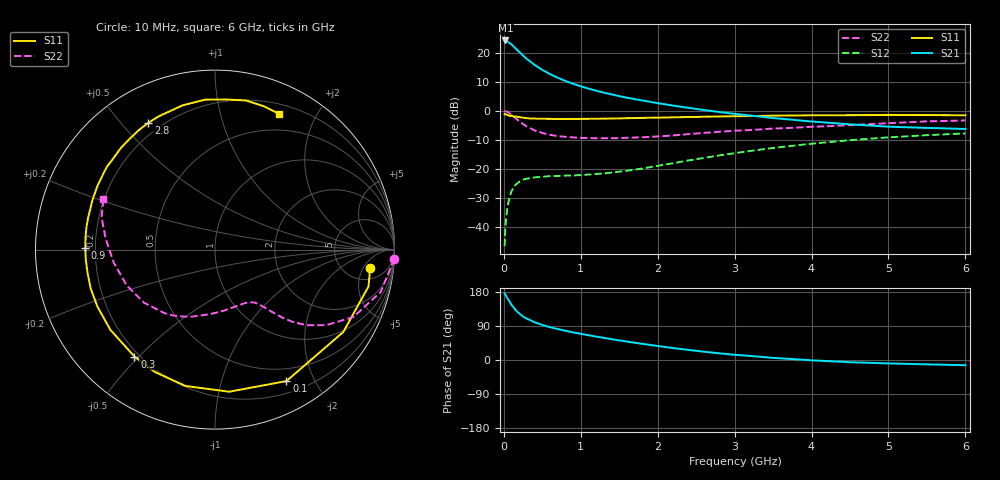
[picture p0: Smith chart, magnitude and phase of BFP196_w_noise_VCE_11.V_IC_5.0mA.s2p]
! (c) 2017  Infineon Technologies AG, Munich
! Infineon Technologies  Discrete & RF Semiconductors
! BFP196
! VCE =  11. V,  IC =  5.0 mA
! Common Emitter S-Parameters:  Jan 2017
# GHz  S  MA  R  50
!  f  S11  S21  S12  S22
! GHz  MAG  ANG  MAG  ANG  MAG  ANG  MAG  ANG
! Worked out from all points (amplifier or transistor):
!   77 points, 10 MHz to 6 GHz, reference 50 ohm
!   highest |S21| = 24.2 dB at 20 MHz (marker M1)
!   |S21| within 3 dB of that: start of sweep to 163.8 MHz
!   unconditionally stable (mu >= 1): 1.215 GHz to 2.335 GHz
!   at 130 MHz: K = 0.14, MSG = 24.2 dB, |S12| = -26.3 dB
!   at 2.2 GHz: K = 1.03, MAG = 8.8 dB, |S12| = -18.1 dB
!   at 6 GHz: K = 0.93, MSG = 0.8 dB, |S12| = -7.8 dB
!   lowest NFmin = 1.01 dB at 450 MHz
!   S11 on the Smith chart (normalised r, x): 10 MHz: 8, -7; 100 MHz: 0.34, -1.63; 300 MHz: 0.18, -0.49; 900 MHz: 0.16, +0.01; 2.8 GHz: 0.15, +0.59; 6 GHz: 0.30, +1.53
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0.01  0.8705 -6.9  16.07 176.3  0.0047 84.2  1 -2.9
0.02  0.8796 -13.5  16.15 172.6  0.0097 85.1  0.9834 -5.9
0.05  0.8495 -32.7  15.45 161.4  0.0233 73.0  0.9533 -14.3
0.1  0.8338 -61.5  13.85 145.4  0.0416 60.5  0.8581 -25.9
0.15  0.7957 -84.3  11.92 132.4  0.0532 48.8  0.7502 -34.1
0.2  0.7774 -102.2  10.26 122.7  0.0603 41.9  0.6617 -39.6
0.25  0.7597 -116.1  8.871 114.6  0.0653 36.6  0.5895 -43.0
0.3  0.7459 -127.0  7.736 108.8  0.0681 32.9  0.5338 -45.3
0.4  0.7346 -142.6  6.137 99.4  0.0715 28.7  0.4594 -48.0
0.5  0.728 -154.1  5.034 92.4  0.0734 27.1  0.4147 -49.9
0.6  0.7258 -162.6  4.27 86.6  0.0751 26.3  0.3854 -51.6
0.7  0.7219 -169.5  3.692 81.8  0.0755 26.9  0.3669 -53.4
0.9  0.7228 179.1  2.904 72.9  0.0771 29.1  0.3479 -58.1
1.1  0.727 170.1  2.404 65.4  0.08 32.9  0.3391 -63.6
1.3  0.7304 162.2  2.048 58.4  0.0837 36.9  0.3371 -69.9
1.5  0.739 155.2  1.784 51.8  0.0898 41.2  0.339 -77.0
2.1  0.7647 135.9  1.287 34.3  0.1191 50.3  0.3685 -99.0
2.8  0.7977 117.8  0.952 17.6  0.1703 51.5  0.4357 -122.6
3.1  0.8072 111.0  0.855 12.3  0.1948 49.5  0.4588 -131.9
4.1  0.8362 92.0  0.639 -1.8  0.2789 38.9  0.5356 -161.1
5.1  0.8466 76.8  0.527 -9.5  0.3548 25.1  0.6196 172.1
6  0.8364 64.9  0.486 -13.7  0.4087 12.7  0.6818 155.8
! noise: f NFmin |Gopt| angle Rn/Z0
0.45  1.01  0.42  127  0.08
0.9  1.47  0.55  170  0.06
1.9  2.9  0.74  -142  0.31
2.4  3.55  0.76  -125  0.95
